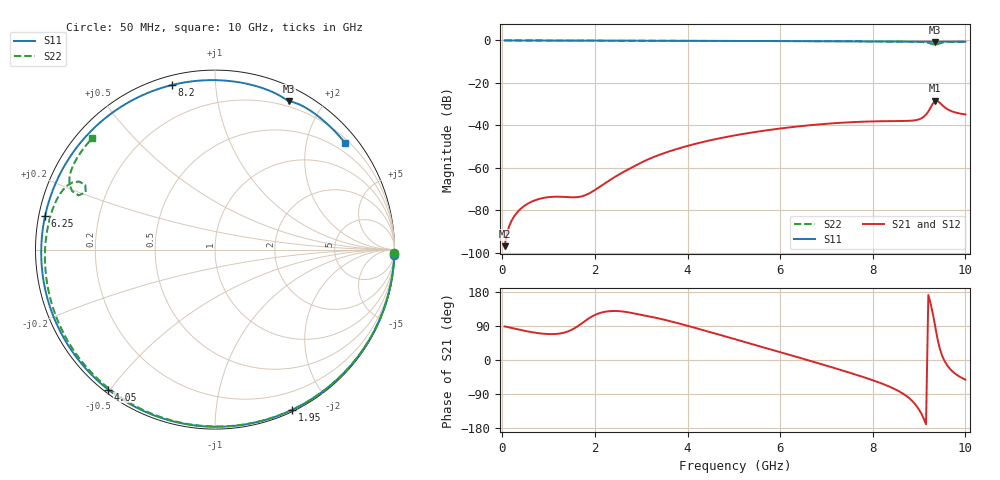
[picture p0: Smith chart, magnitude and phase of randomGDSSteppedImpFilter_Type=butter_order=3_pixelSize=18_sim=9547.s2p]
! freq	dB(S11)	phase(S11)	dB(S12)	phase(S12)
!  dB(S21)	phase(S21)	dB(S22)	phase(S22)
!S-par simulation data
#  GHz  S  DB  R 50
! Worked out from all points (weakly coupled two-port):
!   200 points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, 50 MHz to 10 GHz, reference 50 ohm
!   highest |S21| = -28.39 dB at 9.35 GHz (marker M1); lowest = -96.8 dB at 50 MHz (marker M2)
!   lowest |S11| = -0.7 dB at 9.35 GHz (marker M3), VSWR 25.80, Z = 6.99 + j80.5 ohm
!   |S11| at or under -10 dB: nowhere
!   |S22| runs from -2.1 to 0.0 dB; largest |S21 - S12| = 0
!   S11 on the Smith chart (normalised r, x): 50 MHz: 0, -67; 1.95 GHz: 0.02, -1.59; 4.05 GHz: 0.01, -0.49; 6.25 GHz: 0.02, +0.10; 8.2 GHz: 0.04, +0.77; 10 GHz: 0.29, +2.79
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0.05  -0.00 -1.7  -96.79 88.7  -96.79 88.7  -0.00 -1.2
0.35  -0.02 -11.9  -80.19 80.4  -80.19 80.4  -0.01 -8.1
0.6  -0.03 -20.3  -76.20 74.3  -76.20 74.3  -0.02 -13.8
0.9  -0.04 -30.3  -74.04 69.2  -74.04 69.2  -0.03 -20.7
1.75  -0.07 -58.0  -73.12 99.6  -73.12 99.6  -0.05 -39.8
1.95  -0.08 -64.4  -71.05 115.7  -71.05 115.7  -0.06 -44.3
2.65  -0.11 -86.1  -61.47 127.3  -61.47 127.3  -0.08 -59.6
3.4  -0.14 -108.5  -53.75 109.1  -53.75 109.1  -0.10 -75.5
4.05  -0.17 -127.3  -49.31 88.6  -49.31 88.6  -0.12 -89.1
5.05  -0.22 -156.0  -44.55 54.0  -44.55 54.0  -0.17 -109.5
5.65  -0.27 -173.5  -42.46 33.1  -42.46 33.1  -0.21 -121.7
6.25  -0.31 168.7  -40.78 12.0  -40.78 12.0  -0.25 -134.0
6.7  -0.35 154.8  -39.76 -4.1  -39.76 -4.1  -0.29 -143.3
7.4  -0.40 132.2  -38.61 -29.7  -38.61 -29.7  -0.35 -158.4
8.2  -0.47 104.7  -37.99 -62.3  -37.99 -62.3  -0.46 -176.8
8.35  -0.48 99.4  -37.95 -69.8  -37.95 -69.8  -0.48 179.6
9.05  -0.55 73.8  -36.64 -141.7  -36.64 -141.7  -0.75 160.1
9.15  -0.58 70.1  -34.89 -169.9  -34.89 -169.9  -0.94 156.6
9.25  -0.64 66.5  -31.58 148.8  -31.58 148.8  -1.43 153.4
9.35  -0.67 63.4  -28.39 86.9  -28.39 86.9  -2.07 156.1
9.55  -0.55 56.1  -31.42 -2.6  -31.42 -2.6  -0.88 153.8
10  -0.56 39.1  -34.80 -51.9  -34.80 -51.9  -0.69 137.9
